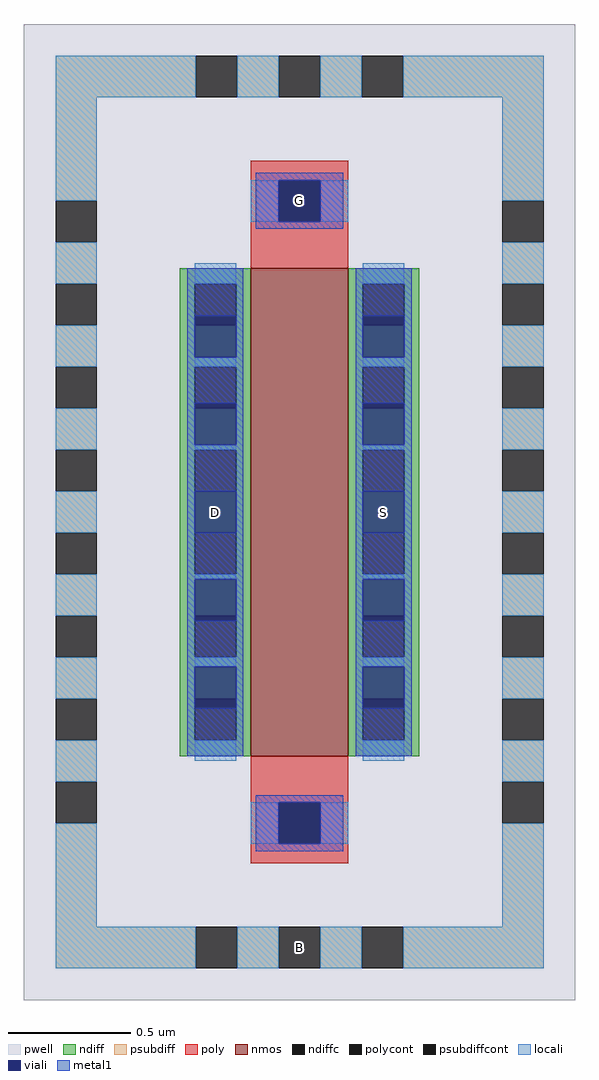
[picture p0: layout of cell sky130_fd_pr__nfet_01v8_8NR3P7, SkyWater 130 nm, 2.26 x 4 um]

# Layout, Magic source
magic
tech sky130A
magscale 1 2
<< pwell >>
rect -226 -400 226 400
<< nmos >>
rect -40 -200 40 200
<< ndiff >>
rect -98 187 -40 200
rect -98 153 -86 187
rect -52 153 -40 187
rect -98 119 -40 153
rect -98 85 -86 119
rect -52 85 -40 119
rect -98 51 -40 85
rect -98 17 -86 51
rect -52 17 -40 51
rect -98 -17 -40 17
rect -98 -51 -86 -17
rect -52 -51 -40 -17
rect -98 -85 -40 -51
rect -98 -119 -86 -85
rect -52 -119 -40 -85
rect -98 -153 -40 -119
rect -98 -187 -86 -153
rect -52 -187 -40 -153
rect -98 -200 -40 -187
rect 40 187 98 200
rect 40 153 52 187
rect 86 153 98 187
rect 40 119 98 153
rect 40 85 52 119
rect 86 85 98 119
rect 40 51 98 85
rect 40 17 52 51
rect 86 17 98 51
rect 40 -17 98 17
rect 40 -51 52 -17
rect 86 -51 98 -17
rect 40 -85 98 -51
rect 40 -119 52 -85
rect 86 -119 98 -85
rect 40 -153 98 -119
rect 40 -187 52 -153
rect 86 -187 98 -153
rect 40 -200 98 -187
<< ndiffc >>
rect -86 153 -52 187
rect -86 85 -52 119
rect -86 17 -52 51
rect -86 -51 -52 -17
rect -86 -119 -52 -85
rect -86 -187 -52 -153
rect 52 153 86 187
rect 52 85 86 119
rect 52 17 86 51
rect 52 -51 86 -17
rect 52 -119 86 -85
rect 52 -187 86 -153
<< psubdiff >>
rect -200 340 -85 374
rect -51 340 -17 374
rect 17 340 51 374
rect 85 340 200 374
rect -200 255 -166 340
rect -200 187 -166 221
rect 166 255 200 340
rect -200 119 -166 153
rect -200 51 -166 85
rect -200 -17 -166 17
rect -200 -85 -166 -51
rect -200 -153 -166 -119
rect -200 -221 -166 -187
rect 166 187 200 221
rect 166 119 200 153
rect 166 51 200 85
rect 166 -17 200 17
rect 166 -85 200 -51
rect 166 -153 200 -119
rect -200 -340 -166 -255
rect 166 -221 200 -187
rect 166 -340 200 -255
rect -200 -374 -85 -340
rect -51 -374 -17 -340
rect 17 -374 51 -340
rect 85 -374 200 -340
<< psubdiffcont >>
rect -85 340 -51 374
rect -17 340 17 374
rect 51 340 85 374
rect -200 221 -166 255
rect 166 221 200 255
rect -200 153 -166 187
rect -200 85 -166 119
rect -200 17 -166 51
rect -200 -51 -166 -17
rect -200 -119 -166 -85
rect -200 -187 -166 -153
rect 166 153 200 187
rect 166 85 200 119
rect 166 17 200 51
rect 166 -51 200 -17
rect 166 -119 200 -85
rect 166 -187 200 -153
rect -200 -255 -166 -221
rect 166 -255 200 -221
rect -85 -374 -51 -340
rect -17 -374 17 -340
rect 51 -374 85 -340
<< poly >>
rect -40 272 40 288
rect -40 238 -17 272
rect 17 238 40 272
rect -40 200 40 238
rect -40 -238 40 -200
rect -40 -272 -17 -238
rect 17 -272 40 -238
rect -40 -288 40 -272
<< polycont >>
rect -17 238 17 272
rect -17 -272 17 -238
<< locali >>
rect -200 340 -85 374
rect -51 340 -17 374
rect 17 340 51 374
rect 85 340 200 374
rect -200 255 -166 340
rect -40 238 -17 272
rect 17 238 40 272
rect 166 255 200 340
rect -200 187 -166 221
rect -200 119 -166 153
rect -200 51 -166 85
rect -200 -17 -166 17
rect -200 -85 -166 -51
rect -200 -153 -166 -119
rect -200 -221 -166 -187
rect -86 187 -52 204
rect -86 119 -52 127
rect -86 51 -52 55
rect -86 -55 -52 -51
rect -86 -127 -52 -119
rect -86 -204 -52 -187
rect 52 187 86 204
rect 52 119 86 127
rect 52 51 86 55
rect 52 -55 86 -51
rect 52 -127 86 -119
rect 52 -204 86 -187
rect 166 187 200 221
rect 166 119 200 153
rect 166 51 200 85
rect 166 -17 200 17
rect 166 -85 200 -51
rect 166 -153 200 -119
rect 166 -221 200 -187
rect -200 -340 -166 -255
rect -40 -272 -17 -238
rect 17 -272 40 -238
rect 166 -340 200 -255
rect -200 -374 -85 -340
rect -51 -374 -17 -340
rect 17 -374 51 -340
rect 85 -374 200 -340
<< viali >>
rect -17 238 17 272
rect -86 153 -52 161
rect -86 127 -52 153
rect -86 85 -52 89
rect -86 55 -52 85
rect -86 -17 -52 17
rect -86 -85 -52 -55
rect -86 -89 -52 -85
rect -86 -153 -52 -127
rect -86 -161 -52 -153
rect 52 153 86 161
rect 52 127 86 153
rect 52 85 86 89
rect 52 55 86 85
rect 52 -17 86 17
rect 52 -85 86 -55
rect 52 -89 86 -85
rect 52 -153 86 -127
rect 52 -161 86 -153
rect -17 -272 17 -238
<< metal1 >>
rect -36 272 36 278
rect -36 238 -17 272
rect 17 238 36 272
rect -36 232 36 238
rect -92 161 -46 200
rect -92 127 -86 161
rect -52 127 -46 161
rect -92 89 -46 127
rect -92 55 -86 89
rect -52 55 -46 89
rect -92 17 -46 55
rect -92 -17 -86 17
rect -52 -17 -46 17
rect -92 -55 -46 -17
rect -92 -89 -86 -55
rect -52 -89 -46 -55
rect -92 -127 -46 -89
rect -92 -161 -86 -127
rect -52 -161 -46 -127
rect -92 -200 -46 -161
rect 46 161 92 200
rect 46 127 52 161
rect 86 127 92 161
rect 46 89 92 127
rect 46 55 52 89
rect 86 55 92 89
rect 46 17 92 55
rect 46 -17 52 17
rect 86 -17 92 17
rect 46 -55 92 -17
rect 46 -89 52 -55
rect 86 -89 92 -55
rect 46 -127 92 -89
rect 46 -161 52 -127
rect 86 -161 92 -127
rect 46 -200 92 -161
rect -36 -238 36 -232
rect -36 -272 -17 -238
rect 17 -272 36 -238
rect -36 -278 36 -272
<< labels >>
rlabel locali s 0 -357 0 -357 4 B
rlabel locali s -69 0 -69 0 4 D
rlabel locali s 69 0 69 0 4 S
rlabel locali s 0 255 0 255 4 G
<< properties >>
string FIXED_BBOX -183 -357 183 357
<< end >>
